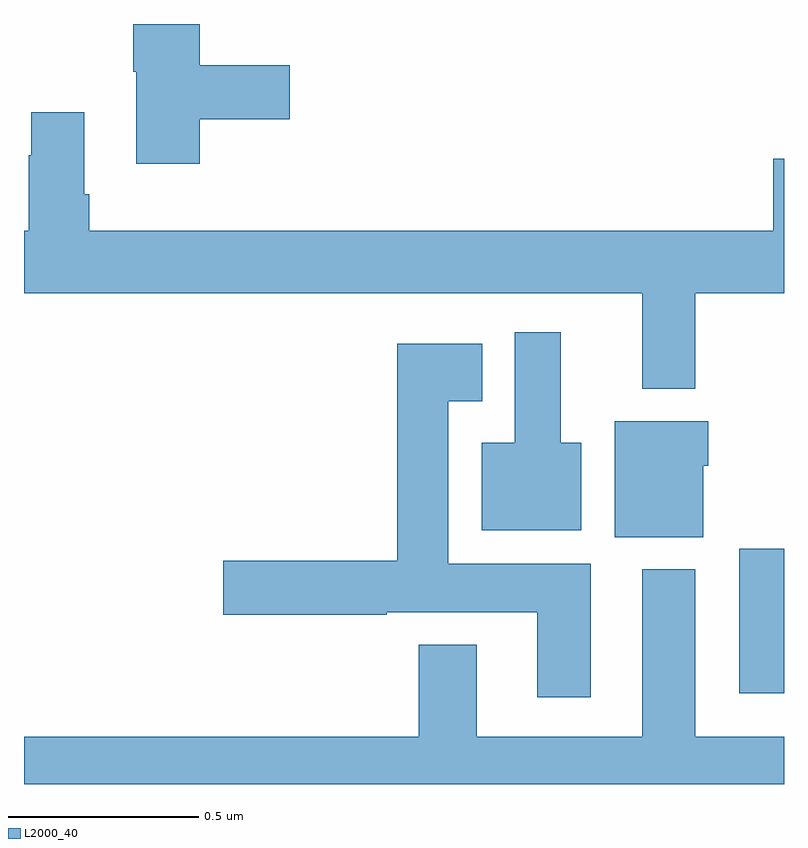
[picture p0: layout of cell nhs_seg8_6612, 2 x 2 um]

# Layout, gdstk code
import gdstk
lib = gdstk.Library(unit=1e-6, precision=1e-09)
def R(c, l, rs):  # rectangles x0, y0, x1, y1
    for r in rs: c.add(gdstk.rectangle(r[:2], r[2:], *l))
def P(c, l, *ps):  # polygons
    for p in ps: c.add(gdstk.Polygon(p, *l))
L2000_40 = (2000, 40)

nhs_seg8_6612 = lib.new_cell('nhs_seg8_6612')
R(nhs_seg8_6612, L2000_40, [(200.882,1090.139,201,1090.519)])
P(nhs_seg8_6612, L2000_40, [(199.463,1091.65),(199.699,1091.65),(199.699,1091.792),(199.463,1091.792),(199.463,1091.9),(199.288,1091.9),(199.288,1091.775),(199.295,1091.775),(199.295,1091.532),(199.463,1091.532)],
  [(199.159,1091.452),(199.159,1091.668),(199.019,1091.668),(199.019,1091.555),(199.012,1091.555),(199.012,1091.356),(199,1091.356),(199,1091.192),(200.627,1091.192),(200.627,1090.94),(200.767,1090.94),(200.767,1091.192),(201,1091.192),(201,1091.545),(200.972,1091.545),(200.972,1091.356),(199.172,1091.356),(199.172,1091.452)],
  [(200.467,1090.798),(200.413,1090.798),(200.413,1091.089),(200.291,1091.089),(200.291,1090.798),(200.204,1090.798),(200.204,1090.568),(200.467,1090.568)],
  [(200.491,1090.48),(200.116,1090.48),(200.116,1090.907),(200.206,1090.907),(200.206,1091.059),(199.982,1091.059),(199.982,1090.487),(199.524,1090.487),(199.524,1090.345),(199.955,1090.345),(199.955,1090.352),(200.351,1090.352),(200.351,1090.128),(200.491,1090.128)],
  [(200.788,1090.737),(200.8,1090.737),(200.8,1090.855),(200.555,1090.855),(200.555,1090.55),(200.788,1090.55)],
  [(201,1090.024),(200.767,1090.024),(200.767,1090.465),(200.627,1090.465),(200.627,1090.024),(200.191,1090.024),(200.191,1090.267),(200.039,1090.267),(200.039,1090.024),(199,1090.024),(199,1089.9),(201,1089.9)])

lib.write_gds('nhs_seg8_6612.gds')
